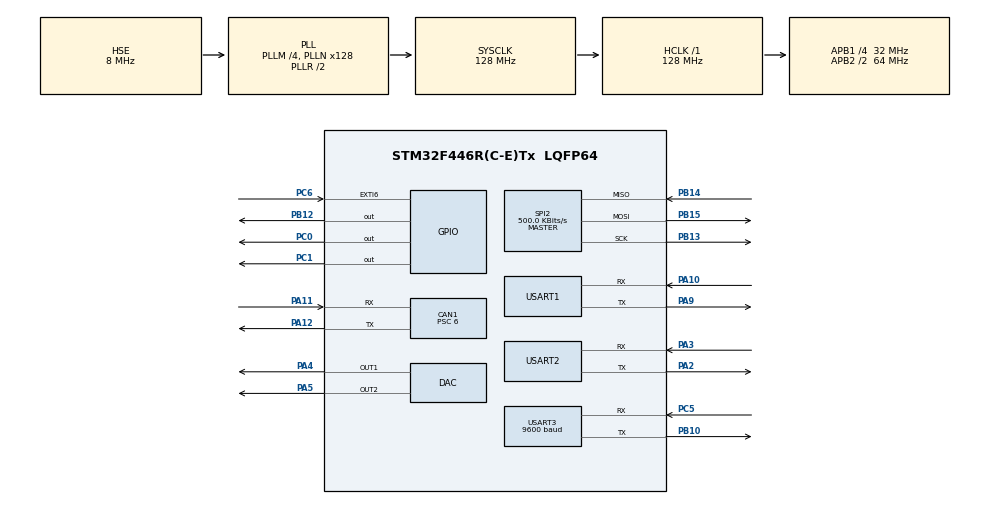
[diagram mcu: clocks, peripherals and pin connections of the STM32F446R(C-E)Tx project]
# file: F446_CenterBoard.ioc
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CAN1.BS1=CAN_BS1_10TQ
CAN1.CalculateBaudRate=444444
CAN1.CalculateTimeBit=2250.00
CAN1.CalculateTimeQuantum=187.5
CAN1.Mode=CAN_MODE_NORMAL
CAN1.NART=DISABLE
CAN1.Prescaler=6
DAC.DAC_Trigger=DAC_TRIGGER_NONE
DAC.DAC_Trigger2=DAC_TRIGGER_NONE
Dma.Request0=USART2_RX
Dma.Request1=USART2_TX
Dma.USART2_RX.0.Direction=DMA_PERIPH_TO_MEMORY
Dma.USART2_RX.0.FIFOMode=DMA_FIFOMODE_DISABLE
Dma.USART2_RX.0.Instance=DMA1_Stream5
Dma.USART2_RX.0.MemDataAlignment=DMA_MDATAALIGN_BYTE
Dma.USART2_RX.0.MemInc=DMA_MINC_ENABLE
Dma.USART2_RX.0.Mode=DMA_CIRCULAR
Dma.USART2_RX.0.PeriphDataAlignment=DMA_PDATAALIGN_BYTE
Dma.USART2_RX.0.PeriphInc=DMA_PINC_DISABLE
Dma.USART2_RX.0.Priority=DMA_PRIORITY_LOW
Dma.USART2_TX.1.Direction=DMA_MEMORY_TO_PERIPH
Dma.USART2_TX.1.FIFOMode=DMA_FIFOMODE_DISABLE
Dma.USART2_TX.1.Instance=DMA1_Stream6
Dma.USART2_TX.1.MemDataAlignment=DMA_MDATAALIGN_BYTE
Dma.USART2_TX.1.MemInc=DMA_MINC_ENABLE
Dma.USART2_TX.1.Mode=DMA_CIRCULAR
Dma.USART2_TX.1.PeriphDataAlignment=DMA_PDATAALIGN_BYTE
Dma.USART2_TX.1.PeriphInc=DMA_PINC_DISABLE
Dma.USART2_TX.1.Priority=DMA_PRIORITY_LOW
IWDG.Prescaler=IWDG_PRESCALER_16
Mcu.Family=STM32F4
Mcu.Name=STM32F446R(C-E)Tx
Mcu.Package=LQFP64
NVIC.CAN1_RX0_IRQn=true\:2\:0\:true\:false\:true\:true\:true
NVIC.CAN1_RX1_IRQn=true\:3\:0\:true\:false\:true\:true\:true
NVIC.CAN1_TX_IRQn=true\:1\:0\:true\:false\:true\:true\:true
NVIC.DMA1_Stream5_IRQn=true\:9\:0\:true\:false\:true\:false\:true
NVIC.DMA1_Stream6_IRQn=true\:10\:0\:true\:false\:true\:false\:true
NVIC.PVD_IRQn=true\:5\:0\:true\:false\:true\:true\:true
NVIC.PriorityGroup=NVIC_PRIORITYGROUP_4
NVIC.TIM6_DAC_IRQn=true\:4\:0\:true\:false\:true\:true\:true
PA10.Mode=Asynchronous
PA10.Signal=USART1_RX
PA11.Mode=CAN_Activate
PA11.Signal=CAN1_RX
PA12.Mode=CAN_Activate
PA12.Signal=CAN1_TX
PA13.Mode=Serial_Wire
PA13.Signal=SYS_JTMS-SWDIO
PA14.Mode=Serial_Wire
PA14.Signal=SYS_JTCK-SWCLK
PA2.Mode=Asynchronous
PA2.Signal=USART2_TX
PA3.Mode=Asynchronous
PA3.Signal=USART2_RX
PA4.Signal=COMP_DAC1_group
PA5.Signal=COMP_DAC2_group
PA9.Mode=Asynchronous
PA9.Signal=USART1_TX
PB10.Mode=Asynchronous
PB10.Signal=USART3_TX
PB12.Signal=GPIO_Output
PB13.Mode=Full_Duplex_Master
PB13.Signal=SPI2_SCK
PB14.Mode=Full_Duplex_Master
PB14.Signal=SPI2_MISO
PB15.Mode=Full_Duplex_Master
PB15.Signal=SPI2_MOSI
PC0.Signal=GPIO_Output
PC1.Signal=GPIO_Output
PC5.Mode=Asynchronous
PC5.Signal=USART3_RX
PC6.Signal=GPXTI6
PH0-OSC_IN.Mode=HSE-External-Oscillator
PH0-OSC_IN.Signal=RCC_OSC_IN
PH1-OSC_OUT.Mode=HSE-External-Oscillator
PH1-OSC_OUT.Signal=RCC_OSC_OUT
ProjectManager.HeapSize=0x200
ProjectManager.StackSize=0x400
ProjectManager.TargetToolchain=STM32CubeIDE
RCC.AHBFreq_Value=128000000
RCC.APB1CLKDivider=RCC_HCLK_DIV4
RCC.APB1Freq_Value=32000000
RCC.APB1TimFreq_Value=64000000
RCC.APB2CLKDivider=RCC_HCLK_DIV2
RCC.APB2Freq_Value=64000000
RCC.APB2TimFreq_Value=128000000
RCC.CortexFreq_Value=128000000
RCC.HCLKFreq_Value=128000000
RCC.HSE_VALUE=8000000
RCC.PLLM=4
RCC.PLLN=128
RCC.PLLSourceVirtual=RCC_PLLSOURCE_HSE
RCC.SYSCLKFreq_VALUE=128000000
RCC.SYSCLKSource=RCC_SYSCLKSOURCE_PLLRCLK
RCC.USBFreq_Value=128000000
RCC.VCOOutputFreq_Value=256000000
SH.COMP_DAC1_group.0=DAC_OUT1,DAC_OUT1
SH.COMP_DAC2_group.0=DAC_OUT2,DAC_OUT2
SPI2.BaudRatePrescaler=SPI_BAUDRATEPRESCALER_64
SPI2.CLKPhase=SPI_PHASE_1EDGE
SPI2.CLKPolarity=SPI_POLARITY_LOW
SPI2.CalculateBaudRate=500.0 KBits/s
SPI2.Direction=SPI_DIRECTION_2LINES
SPI2.Mode=SPI_MODE_MASTER
SPI2.VirtualType=VM_MASTER
TIM6.Period=2000
TIM6.Prescaler=64
USART1.VirtualMode=VM_ASYNC
USART2.VirtualMode=VM_ASYNC
USART3.BaudRate=9600
USART3.VirtualMode=VM_ASYNC
VP_IWDG_VS_IWDG.Mode=IWDG_Activate
VP_TIM6_VS_ClockSourceINT.Mode=Enable_Timer
board=custom

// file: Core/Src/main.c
/* USER CODE BEGIN Header */
/**
  ******************************************************************************
  * @file           : main.c
  * @brief          : Main program body
  ******************************************************************************
  * @attention
  *
  * <h2><center>&copy; Copyright (c) 2020 STMicroelectronics.
  * All rights reserved.</center></h2>
  *
  * This software component is licensed by ST under BSD 3-Clause license,
  * the "License"; You may not use this file except in compliance with the
  * License. You may obtain a copy of the License at:
  *                        opensource.org/licenses/BSD-3-Clause
  *
  ******************************************************************************
  */
/* USER CODE END Header */
#include "main.h"
#include "can.h"
#include "dac.h"
#include "dma.h"
#include "iwdg.h"
#include "spi.h"
#include "tim.h"
#include "usart.h"
#include "gpio.h"

/* USER CODE BEGIN Includes */
#include "management.h"
/* USER CODE END Includes */

void SystemClock_Config(void);

/* USER CODE BEGIN 0 */

#ifdef __GNUC__
#define PUTCHAR_PROTOTYPE int __io_putchar(int ch)
#else
#define PUTCHAR_PROTOTYPE int fputc(int ch, FILE *f)
#endif /* __GNUC__ */
void __io_putchar(uint8_t ch) {
HAL_UART_Transmit(&huart1, &ch, 1, 1);
}

void HAL_TIM_PeriodElapsedCallback(TIM_HandleTypeDef *htim);
void HAL_CAN_RxFifo0MsgPendingCallback(CAN_HandleTypeDef *hcan);
void HAL_UART_RxCpltCallback(UART_HandleTypeDef *huart);

uint8_t Craction_in,Break_in,Flont_Lamp_in,Key_in,EX_in,Winker_L_in,Winker_R_in;
uint8_t state,cnt,connect,bconnect,EN,EN_rear,EN_front,mode,bmode;
float slot,speed,slot_data;
float rol,pit,pit_acc,rol_acc,pit_temp,rol_temp;

float map(float x, float in_min, float in_max, float out_min, float out_max) {
	  return (x - in_min) * (out_max - out_min) / (in_max - in_min) + out_min;
	}
/* USER CODE END 0 */

int main(void)
{

  /* MCU Configuration--------------------------------------------------------*/

  /* Reset of all peripherals, Initializes the Flash interface and the Systick. */
  HAL_Init();

  /* Configure the system clock */
  SystemClock_Config();

  /* Initialize all configured peripherals */
  MX_GPIO_Init();
  MX_DMA_Init();
  MX_CAN1_Init();
  MX_DAC_Init();
  MX_SPI2_Init();
  MX_USART1_UART_Init();
  MX_USART2_UART_Init();
  MX_USART3_UART_Init();
  MX_TIM6_Init();
  //MX_IWDG_Init();
  /* USER CODE BEGIN 2 */
  EN_rear=0;
  EN_front=0;
  setbuf(stdout, NULL);
  can_init(&hcan1);
  HAL_DAC_Start(&hdac, DAC_CHANNEL_1);
  HAL_DAC_Start(&hdac, DAC_CHANNEL_2);
  HAL_UART_Init(&huart2);
  HAL_UART_Receive_DMA(&huart2,(uint8_t *)Rxbuf_from_ESP32,Rxbufsize_from_ESP32);
  HAL_DAC_SetValue(&hdac, DAC_CHANNEL_1, DAC_ALIGN_12B_R, 0);
  HAL_DAC_SetValue(&hdac, DAC_CHANNEL_2, DAC_ALIGN_12B_R, 0);
  //mpu9250_init(&hspi2);

  while(1){
      	if(EN_front==1 && EN_rear==1){break;}
      	if(HAL_GetTick()>1000){
      		Error_Handler();
      	}
      }

  connect=0;
	bconnect=0;
  DFPlayer_init(&huart3);
  HAL_Delay(500);
  DFPlayer_setvolume(0x40);
  HAL_Delay(500);
  DFPlayer_playmp3(2);
  HAL_Delay(3000);

  MX_IWDG_Init();
  HAL_TIM_Base_Start_IT(&htim6);

  /* USER CODE END 2 */

  /* Infinite loop */
  while (1)
  {

    /* USER CODE BEGIN 3 */

	  //printf(" slot=%f",slot);
	  //printf(" slot_out=%f",slot_data);

	  //printf(" state=%d",state);
	  //printf(" speed=%f",speed);
	  //printf(" C=%d",Craction_in);
	  //printf(" F=%d",Flont_Lamp_in);
	  //printf(" B=%d",Break_in);
	  //printf(" L=%d",Winker_L_in);
	  //printf(" R=%d",Winker_R_in);
	  //printf(" K=%d",Key_in);
	  //printf(" E=%d",EX_in);
	  /*printf(" 0=%d",Rxbuf_from_ESP32[0]);
	  printf(" 1=%d",Rxbuf_from_ESP32[1]);
	  printf(" 2=%d",Rxbuf_from_ESP32[2]);
	  printf(" 3=%d",Rxbuf_from_ESP32[3]);
	  printf(" 4=%d",Rxbuf_from_ESP32[4]);*/
	  //printf(" 0=%d",data_from_esp32[0]);
	  //printf(" 1=%d",data_from_esp32[1]);
	  //printf(" 2=%d",data_from_esp32[2]);
	  //printf(" 3=%d",data_from_esp32[3]);
	  //printf(" 3=%d",data_from_esp32[3]);
	  //printf(" Yaw=%f",gyro_data[0]);
	  //printf(" Rol=%f",gyro_data[1]);
	  //printf(" Pit=%f",gyro_data[2]);
	  //printf(" X=%f",accel_data[0]);
	  //printf(" Y=%f",accel_data[1]);
	  //printf(" Z=%f",accel_data[2]);
	  //printf(" mX=%f",mag_data[0]);
	  //printf(" mY=%f",mag_data[1]);
	  //printf(" mZ=%f",mag_data[2]);
	  //printf(" mpu.temp=%f",temperature);
	 /* printf(" Rol_acc=%7.4f",rol_acc);
	  printf(" Pit_acc=%7.4f",pit_acc);
	  printf(" Rol=%7.4f",rol);
	  printf(" Pit=%7.4f",pit);*/

	  //printf("\r\n");

	  HAL_IWDG_Refresh(&hiwdg);

	  //HAL_Delay(10);
  }
  /* USER CODE END 3 */
}

void SystemClock_Config(void)
{
  RCC_OscInitTypeDef RCC_OscInitStruct = {0};
  RCC_ClkInitTypeDef RCC_ClkInitStruct = {0};

  /** Configure the main internal regulator output voltage
  */
  __HAL_RCC_PWR_CLK_ENABLE();
  __HAL_PWR_VOLTAGESCALING_CONFIG(PWR_REGULATOR_VOLTAGE_SCALE2);
  /** Initializes the RCC Oscillators according to the specified parameters
  * in the RCC_OscInitTypeDef structure.
  */
  RCC_OscInitStruct.OscillatorType = RCC_OSCILLATORTYPE_LSI|RCC_OSCILLATORTYPE_HSE;
  RCC_OscInitStruct.HSEState = RCC_HSE_ON;
  RCC_OscInitStruct.LSIState = RCC_LSI_ON;
  RCC_OscInitStruct.PLL.PLLState = RCC_PLL_ON;
  RCC_OscInitStruct.PLL.PLLSource = RCC_PLLSOURCE_HSE;
  RCC_OscInitStruct.PLL.PLLM = 4;
  RCC_OscInitStruct.PLL.PLLN = 128;
  RCC_OscInitStruct.PLL.PLLP = RCC_PLLP_DIV2;
  RCC_OscInitStruct.PLL.PLLQ = 2;
  RCC_OscInitStruct.PLL.PLLR = 2;
  if (HAL_RCC_OscConfig(&RCC_OscInitStruct) != HAL_OK)
  {
    Error_Handler();
  }
  /** Initializes the CPU, AHB and APB buses clocks
  */
  RCC_ClkInitStruct.ClockType = RCC_CLOCKTYPE_HCLK|RCC_CLOCKTYPE_SYSCLK
                              |RCC_CLOCKTYPE_PCLK1|RCC_CLOCKTYPE_PCLK2;
  RCC_ClkInitStruct.SYSCLKSource = RCC_SYSCLKSOURCE_PLLRCLK;
  RCC_ClkInitStruct.AHBCLKDivider = RCC_SYSCLK_DIV1;
  RCC_ClkInitStruct.APB1CLKDivider = RCC_HCLK_DIV4;
  RCC_ClkInitStruct.APB2CLKDivider = RCC_HCLK_DIV2;

  if (HAL_RCC_ClockConfig(&RCC_ClkInitStruct, FLASH_LATENCY_4) != HAL_OK)
  {
    Error_Handler();
  }
}

/* USER CODE BEGIN 4 */

void HAL_CAN_RxFifo0MsgPendingCallback(CAN_HandleTypeDef *hcan)
{
	if (HAL_CAN_GetRxMessage(&hcan1, CAN_RX_FIFO0, &RxHeader, RxData) != HAL_OK)
	  	{
	    		Error_Handler();
	  	}
	switch (RxHeader.StdId){
	//error
	case 0x000:
		HAL_DAC_SetValue(&hdac, DAC_CHANNEL_1, DAC_ALIGN_12B_R, 0);
		HAL_DAC_SetValue(&hdac, DAC_CHANNEL_2, DAC_ALIGN_12B_R, 0);
		break;

	//state button
	case 0x100:
		state=RxData[0];
		Winker_L_in=  (state & 0b01000000)>>6;
		Winker_R_in=  (state & 0b00100000)>>5;
		Craction_in=  (state & 0b00010000)>>4;
		Break_in=     (state & 0b00001000)>>3;
		Flont_Lamp_in=(state & 0b00000100)>>2;
		Key_in=       (state & 0b00000010)>>1;
		EX_in=        (state & 0b00000001);

		EN_front=1;
		break;
	//slot
	case 0x101:
		slot=uchar4_to_float(RxData);
		break;
	//speed
	case 0x102:
		speed=uchar4_to_float(RxData);
		EN_rear=1;
		break;

	}
	HAL_GPIO_TogglePin(GPIOC, GPIO_PIN_1);

}

void HAL_TIM_PeriodElapsedCallback(TIM_HandleTypeDef *htim)
{
	mode=data_from_esp32[0];
	if(mode!=bmode){
		DFPlayer_playmp3(5);//操作音
		bmode=data_from_esp32[0];
	}
	//mode=1;

	if(mode==1){
		slot_data=map(slot,0.650,3.265,0.9,3.5);//norm}
	}
	else if(mode==2){
		slot_data=map(slot,0.650,3.265,0.9,2.5);//eco
	}
	else if(mode==3){
		slot_data=powf(slot,3)*0.3713+powf(slot,2)*(-1.8438)+slot*(3.1176)-0.4461;//snow
	}
	else if(mode==4){
		slot_data=powf(slot,4)*(0.3067)+powf(slot,3)*(-2.4464)+powf(slot,2)*(6.3486)+slot*(-4.8485)+1.9619;//sport
	}
	else if(mode==5){
		slot_data=powf(slot,3)*0.1732+powf(slot,2)*(-1.6682)+slot*(5.2727)-1.9883;//sport plus
	}
	else if(mode==10){
		slot_data=powf(slot,5)*(0.0532)+powf(slot,4)*(-0.839)+powf(slot,3)*(4.9461)+powf(slot,2)*(-13.884)+slot*(18.813)-6.4772;//extreme
	}
	else{slot_data=map(slot,0.650,3.265,0.9,2.5);//eco
	}

	if(slot_data>3.5){slot_data=3.5;}
	if(slot_data<0.9){slot_data=0.9;}

	float setvalue1=(4095.0/9.9)*slot_data;
	float setvalue2=(4095.0/9.9)*slot_data;

	if(EN==1){
		if(mode==4){//sport
			if(speed==0.0) {
				setvalue1=(4095.0/9.9)*slot_data;
				setvalue2=(4095.0/9.9)*slot_data*0.6;
				HAL_DAC_SetValue(&hdac, DAC_CHANNEL_1, DAC_ALIGN_12B_R, (int)setvalue1);
				HAL_DAC_SetValue(&hdac, DAC_CHANNEL_2, DAC_ALIGN_12B_R, (int)setvalue2);
			}
			else if(speed==0.01) {
				setvalue1=(4095.0/9.9)*slot_data;
				setvalue2=(4095.0/9.9)*slot_data*0.7;
				HAL_DAC_SetValue(&hdac, DAC_CHANNEL_1, DAC_ALIGN_12B_R, (int)setvalue1);
				HAL_DAC_SetValue(&hdac, DAC_CHANNEL_2, DAC_ALIGN_12B_R, (int)setvalue2);
			}
			else if(speed==0.02) {
				setvalue1=(4095.0/9.9)*slot_data;
				setvalue2=(4095.0/9.9)*slot_data*0.8;
				HAL_DAC_SetValue(&hdac, DAC_CHANNEL_1, DAC_ALIGN_12B_R, (int)setvalue1);
				HAL_DAC_SetValue(&hdac, DAC_CHANNEL_2, DAC_ALIGN_12B_R, (int)setvalue2);
			}
			else if(speed==0.03) {
				setvalue1=(4095.0/9.9)*slot_data;
				setvalue2=(4095.0/9.9)*slot_data*0.9;
				HAL_DAC_SetValue(&hdac, DAC_CHANNEL_1, DAC_ALIGN_12B_R, (int)setvalue1);
				HAL_DAC_SetValue(&hdac, DAC_CHANNEL_2, DAC_ALIGN_12B_R, (int)setvalue2);
			}
			else {
				HAL_DAC_SetValue(&hdac, DAC_CHANNEL_1, DAC_ALIGN_12B_R, (int)setvalue1);
				HAL_DAC_SetValue(&hdac, DAC_CHANNEL_2, DAC_ALIGN_12B_R, (int)setvalue2);
			}
		}

		else if(mode==5){//sport plus
			if(speed==0.0) {
				setvalue1=(4095.0/9.9)*slot_data;
				setvalue2=(4095.0/9.9)*slot_data*0.7;
				HAL_DAC_SetValue(&hdac, DAC_CHANNEL_1, DAC_ALIGN_12B_R, (int)setvalue1);
				HAL_DAC_SetValue(&hdac, DAC_CHANNEL_2, DAC_ALIGN_12B_R, (int)setvalue2);
			}
			else if(speed==0.01) {
				setvalue1=(4095.0/9.9)*slot_data;
				setvalue2=(4095.0/9.9)*slot_data*0.8;
				HAL_DAC_SetValue(&hdac, DAC_CHANNEL_1, DAC_ALIGN_12B_R, (int)setvalue1);
				HAL_DAC_SetValue(&hdac, DAC_CHANNEL_2, DAC_ALIGN_12B_R, (int)setvalue2);
			}
			else if(speed==0.02) {
				setvalue1=(4095.0/9.9)*slot_data;
				setvalue2=(4095.0/9.9)*slot_data*0.9;
				HAL_DAC_SetValue(&hdac, DAC_CHANNEL_1, DAC_ALIGN_12B_R, (int)setvalue1);
				HAL_DAC_SetValue(&hdac, DAC_CHANNEL_2, DAC_ALIGN_12B_R, (int)setvalue2);
			}
			else {
				HAL_DAC_SetValue(&hdac, DAC_CHANNEL_1, DAC_ALIGN_12B_R, (int)setvalue1);
				HAL_DAC_SetValue(&hdac, DAC_CHANNEL_2, DAC_ALIGN_12B_R, (int)setvalue2);
			}
		}
		else if(mode==10){//extreme
					if(speed==0.0) {
						setvalue1=(4095.0/9.9)*slot_data*0.8;
						setvalue2=(4095.0/9.9)*slot_data;
						HAL_DAC_SetValue(&hdac, DAC_CHANNEL_1, DAC_ALIGN_12B_R, (int)setvalue1);
						HAL_DAC_SetValue(&hdac, DAC_CHANNEL_2, DAC_ALIGN_12B_R, (int)setvalue2);
					}
					else if(speed==0.01) {
						setvalue1=(4095.0/9.9)*slot_data*0.9;
						setvalue2=(4095.0/9.9)*slot_data;
						HAL_DAC_SetValue(&hdac, DAC_CHANNEL_1, DAC_ALIGN_12B_R, (int)setvalue1);
						HAL_DAC_SetValue(&hdac, DAC_CHANNEL_2, DAC_ALIGN_12B_R, (int)setvalue2);
					}
					else {
						HAL_DAC_SetValue(&hdac, DAC_CHANNEL_1, DAC_ALIGN_12B_R, (int)setvalue1);
						HAL_DAC_SetValue(&hdac, DAC_CHANNEL_2, DAC_ALIGN_12B_R, (int)setvalue2);
					}
				}

		else{
			HAL_DAC_SetValue(&hdac, DAC_CHANNEL_1, DAC_ALIGN_12B_R, (int)setvalue1);
			HAL_DAC_SetValue(&hdac, DAC_CHANNEL_2, DAC_ALIGN_12B_R, (int)setvalue2);
		}
	}
	else{
		HAL_DAC_SetValue(&hdac, DAC_CHANNEL_1, DAC_ALIGN_12B_R, 0);
		HAL_DAC_SetValue(&hdac, DAC_CHANNEL_2, DAC_ALIGN_12B_R, 0);
	}

	uint8_t senddata[5];
	senddata[0]=254;
	senddata[1]=state;
	senddata[2]=0;
	senddata[3]=cnt;
	senddata[4]=253;

	HAL_UART_Transmit(&huart2,(uint8_t*)senddata ,5, 0x0f);

	if(cnt>250){
		cnt=0;
		if(EN_front==0){
			Error_Handler();
		}
		else{
			EN_front=0;
		}
		if(EN_rear==0){
			Error_Handler();
		}
		else{
			EN_rear=0;
		}
	}
	else{
		cnt++;
	}

	/*mpu9250_read_gyro();
	mpu9250_read_acc();

	pit_acc=myAtan2(accel_data[0], sqrt(accel_data[1] * accel_data[1]+accel_data[2] * accel_data[2]))*180.0/ M_PI;
	rol_acc=myAtan2(accel_data[1], accel_data[2]) *180.0/ M_PI;
	pit=0.95*(gyro_data[0]*0.002+pit_temp)+0.05*pit_acc;
	rol=0.95*(gyro_data[1]*0.002+rol_temp)+0.05*rol_acc;
	pit_temp=pit;
	rol_temp=rol;*/

	if(data_from_esp32[1]>0){
		connect=data_from_esp32[1];
		if(connect!=bconnect){
				bconnect=data_from_esp32[1];
				switch(data_from_esp32[1]){
				case 1:{
					//解錠
					DFPlayer_playmp3(5);//操作音
					EN=1;
					break;
				}
				case 2:{
					//拒否
					DFPlayer_playmp3(1);
					EN=0;
					break;
				}
				case 3:{
					//適性ユーザー(接続のみ)
					DFPlayer_playmp3(6);
					EN=0;
					break;
				}
				default:{
					EN=0;
					break;
				}
			}
		}

	}
	else{
		if(connect>0){
			DFPlayer_playmp3(3);
		}
		connect=0;
		bconnect=0;
		EN=0;
	}

	// if(data_from_esp32[1]>0){
	// 	if(connect==0){
	// 		if(data_from_esp32[1]==1){
	// 			DFPlayer_playmp3(6);
	// 			EN=1;
	// 		}
	// 		else{
	// 			EN=0;
	// 			DFPlayer_playmp3(1);
	// 		}
	// 	}
	// 	connect=1;
	// }
	// else{
	// 	if(connect==1){
	// 		DFPlayer_playmp3(3);
	// 	}
	// 	connect=0;
	// 	EN=0;
	// }

}

void HAL_UART_RxCpltCallback(UART_HandleTypeDef *huart){
	uint8_t j = 0;

	while (Rxbuf_from_ESP32[j] != 254 &&  j<sizeof(Rxbuf_from_ESP32)) {
		j++;
	}
	if(j>=sizeof(Rxbuf_from_ESP32)){
		for(uint8_t k=0;k<(sizeof(data_from_esp32));k++){
			data_from_esp32[k]=0;
		}
		HAL_GPIO_WritePin(GPIOB, GPIO_PIN_1,1);
	}
	else{
		for (uint8_t k = 0; k < sizeof(data_from_esp32); k++) {
			if ((j + k) >= sizeof(data_from_esp32)) {
				data_from_esp32[k] = Rxbuf_from_ESP32[k - (sizeof(data_from_esp32) - j)];
			}
			else {
				data_from_esp32[k] = Rxbuf_from_ESP32[j + k + 1];
			}
		}
	}
	if(data_from_esp32[sizeof(data_from_esp32)-1]==253){
		for(uint8_t k=0;k<sizeof(data_from_esp32);k++){
			Rxbuf_from_ESP32_temp[k]=data_from_esp32[k];
		}
	}
	else{
		for(uint8_t k=0;k<sizeof(data_from_esp32);k++){
			data_from_esp32[k]=Rxbuf_from_ESP32_temp[k];
		}
	}

}

/* USER CODE END 4 */

void Error_Handler(void)
{
  /* USER CODE BEGIN Error_Handler_Debug */
  /* User can add his own implementation to report the HAL error return state */
	TxData[0]=0x02;
	TxData[1]=0xFF;
	can_send(0x000,(uint8_t*)TxData);
	HAL_GPIO_TogglePin(GPIOC, GPIO_PIN_0);

	HAL_DAC_SetValue(&hdac, DAC_CHANNEL_1, DAC_ALIGN_12B_R, 0);
	HAL_DAC_SetValue(&hdac, DAC_CHANNEL_2, DAC_ALIGN_12B_R, 0);

	//NVIC_SystemReset();
  /* USER CODE END Error_Handler_Debug */
}

/************************ (C) COPYRIGHT STMicroelectronics *****END OF FILE****/
